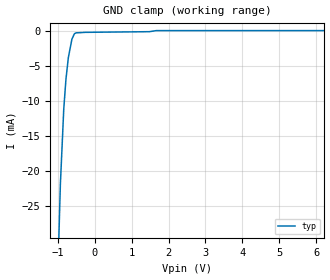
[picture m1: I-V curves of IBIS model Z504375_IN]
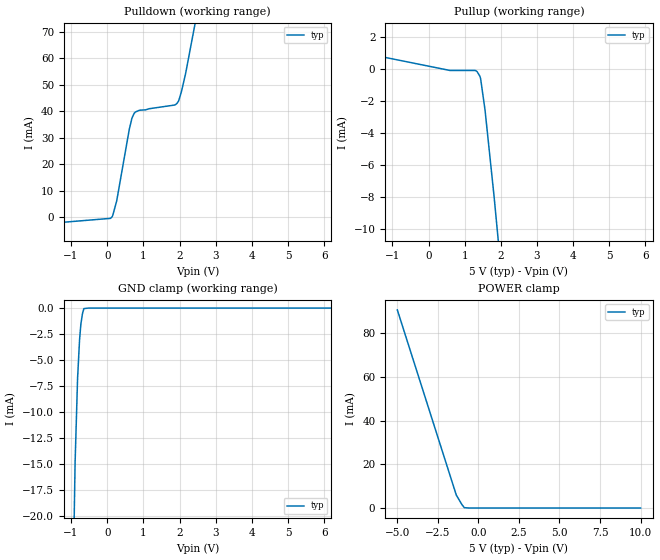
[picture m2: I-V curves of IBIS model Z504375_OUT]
| YOU ARE ONLY AUTHORIZED TO USE THIS SOFTWARE
| ACCORDING TO LICENSOR'S LICENSE RESTRICTIONS.
[IBIS Ver] 3.1
[File Name] sn54ls133j.ibs
[File Rev] 2.0
[Source] Measured and created by ICX Technology
[Date] Friday 7/14/00 9:08:13 AM
[Copyright]
| (C) COPYRIGHT 1993-2000
| MENTOR GRAPHICS CORPORATION
| ICX STANDARD LIBRARY, ICX PROJECT MODELING,
| ICX CUSTOM MODELING, ICX VENDOR MODEL
| ALL RIGHTS RESERVED.
| THE FOLLOWING ARE TRADEMARKS OR SERVICE MARKS OF
| MENTOR GRAPHICS CORPORATION:ICX (R), ICX STANDARD
| LIBRARY(R), ICX PROJECT MODELING(R), ICX CUSTOM
| MODELING(R), qualityIBIS(TM), MODELVIEWER(TM),
| AND MODELEDITOR(TM)
| ALL COPIES OF SOFTWARE, INCLUDING BUT NOT LIMITED TO
| ANY MODIFICATIONS, ENHANCEMENTS OR DERIVATIVE WORKS,
| MUST CONTAIN ALL MENTOR GRAPHICS CORPORATION'S
| NOTICES AND LEGENDS, INCLUDING THOSE EMBEDDED IN
| SOFTWARE AND THOSE AFFIXED TO SOFTWARE MEDIUM
| AND CONTAINER, AS RECEIVED FROM MENTOR GRAPHICS
| CORPORATION.
|  ZAP Model Builder 2.7
[Component] SN54LS133J
[Manufacturer] OnSemiconductor
[Package]
| variable   typ   min   max
R_pkg  .212ohms NA NA
L_pkg  4.758nH NA NA
C_pkg  1.944pF NA NA
[Pin] signal_name  model_name  R_pin  L_pin C_pin
1 A Z504375_IN .224 7.258n 2.683p
2 B Z504375_IN .216 5.258n 2.19p
3 C Z504375_IN .208 3.758n 1.697p
4 D Z504375_IN .2 2.758n 1.204p
5 E Z504375_IN .2 2.758n 1.204p
6 F Z504375_IN .208 3.758n 1.697p
7 G Z504375_IN .216 5.258n 2.19p
8 GND GND .224 7.258n 2.683p
9 Y Z504375_OUT .224 7.258n 2.683p
10 H Z504375_IN .216 5.258n 2.19p
11 I Z504375_IN .208 3.758n 1.697p
12 J Z504375_IN .2 2.758n 1.204p
13 K Z504375_IN .2 2.758n 1.204p
14 L Z504375_IN .208 3.758n 1.697p
15 M Z504375_IN .216 5.258n 2.19p
16 VCC POWER .224 7.258n 2.683p
| Models and submodels in the file (2): Z504375_IN (Input), Z504375_OUT (Output)
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| (C) COPYRIGHT 1993-2000
| MENTOR GRAPHICS CORPORATION
| ICX STANDARD LIBRARY, ICX PROJECT MODELING,
| ICX CUSTOM MODELING, ICX VENDOR MODEL
| ALL RIGHTS RESERVED.
| THE FOLLOWING ARE TRADEMARKS OR SERVICE MARKS OF
| MENTOR GRAPHICS CORPORATION:ICX (R), ICX STANDARD
| LIBRARY(R), ICX PROJECT MODELING(R), ICX CUSTOM
| MODELING(R), qualityIBIS(TM), MODELVIEWER(TM),
| AND MODELEDITOR(TM)
| ALL COPIES OF SOFTWARE, INCLUDING BUT NOT LIMITED TO
| ANY MODIFICATIONS, ENHANCEMENTS OR DERIVATIVE WORKS,
| MUST CONTAIN ALL MENTOR GRAPHICS CORPORATION'S
| NOTICES AND LEGENDS, INCLUDING THOSE EMBEDDED IN
| SOFTWARE AND THOSE AFFIXED TO SOFTWARE MEDIUM
| AND CONTAINER, AS RECEIVED FROM MENTOR GRAPHICS
| CORPORATION.
| Model Application Version 1.89 2/18/99.
[Model] Z504375_IN
Model_type Input
Vinl = 800.0mV
Vinh = 2.000V
C_comp 4.000pF NA NA
| variable typ   min   max
[Voltage Range] 5.000V NA NA
[GND Clamp Reference] 0.000V NA NA
[POWER Clamp Reference] 5.000V NA NA
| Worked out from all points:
|   GND clamp passes 1 mA (typ) near -0.59 V on its own axis
[GND Clamp]
-5V       -773.6mA   NA         NA
-926.7mV  -21.97mA   NA         NA
-835mV    -11.19mA   NA         NA
-776.4mV  -6.986mA   NA         NA
-711.3mV  -3.869mA   NA         NA
-615.2mV  -1.234mA   NA         NA
-546.8mV  -449.4uA   NA         NA
-503mV    -324.1uA   NA         NA
-251.5mV  -249.4uA   NA         NA
1.486V    -153.9uA   NA         NA
1.665V    -2.157uA   NA         NA
10V       2.837uA    NA         NA
[POWER Clamp]
-5V       0A         NA         NA
10V       0A         NA         NA
| (C) COPYRIGHT 1993-2000
| MENTOR GRAPHICS CORPORATION
| ICX STANDARD LIBRARY, ICX PROJECT MODELING,
| ICX CUSTOM MODELING, ICX VENDOR MODEL
| ALL RIGHTS RESERVED.
| THE FOLLOWING ARE TRADEMARKS OR SERVICE MARKS OF
| MENTOR GRAPHICS CORPORATION:ICX (R), ICX STANDARD
| LIBRARY(R), ICX PROJECT MODELING(R), ICX CUSTOM
| MODELING(R), qualityIBIS(TM), MODELVIEWER(TM),
| AND MODELEDITOR(TM)
| ALL COPIES OF SOFTWARE, INCLUDING BUT NOT LIMITED TO
| ANY MODIFICATIONS, ENHANCEMENTS OR DERIVATIVE WORKS,
| MUST CONTAIN ALL MENTOR GRAPHICS CORPORATION'S
| NOTICES AND LEGENDS, INCLUDING THOSE EMBEDDED IN
| SOFTWARE AND THOSE AFFIXED TO SOFTWARE MEDIUM
| AND CONTAINER, AS RECEIVED FROM MENTOR GRAPHICS
| CORPORATION.
| Model Application Version 1.89 2/18/99.
[Model] Z504375_OUT
Model_type Output
Vref=5.000V
Rref=2.000kohms
Cref=15.00pF
Vmeas=1.300V
C_comp 8.000pF NA NA
| variable typ   min   max
[Voltage Range] 5.000V NA NA
[POWER Clamp Reference] 5.000V NA NA
[Pullup Reference] 5.000V NA NA
[Pulldown Reference] 0.000V NA NA
[GND Clamp Reference] 0.000V NA NA
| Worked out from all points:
|   slope of the pulldown table from 0 to 0.75 V, typ, clamps not added: 18.8 ohm
|   slope of the pullup table from 0 to 0.75 V, typ, clamps not added: 2.78 kohm
|   GND clamp passes 1 mA (typ) near -0.70 V on its own axis
|   POWER clamp passes 1 mA (typ) near -0.96 V on its own axis
[GND Clamp]
-5V       -1.555A    NA         NA
-1.182V   -93.09mA   NA         NA
-1.035V   -46.14mA   NA         NA
-888.7mV  -14.91mA   NA         NA
-819.7mV  -6.763mA   NA         NA
-764.1mV  -3.011mA   NA         NA
-727.3mV  -1.519mA   NA         NA
-683.6mV  -519.9uA   NA         NA
-644.5mV  -48.98uA   NA         NA
-515.6mV  0A         NA         NA
10V       0A         NA         NA
[Pulldown]
-5V       -6.17mA    NA         NA
87.89mV   -427.4uA   NA         NA
151.4mV   593.5uA    NA         NA
262.9mV   6.204mA    NA         NA
611.3mV   33.24mA    NA         NA
683.8mV   37.39mA    NA         NA
746mV     39.26mA    NA         NA
899mV     40.42mA    NA         NA
1.896V    42.58mA    NA         NA
1.978V    44mA       NA         NA
2.168V    54.21mA    NA         NA
10V       617.7mA    NA         NA
[Pullup]
-5V       2.447mA    NA         NA
593.5mV   -96.81uA   NA         NA
1.299V    -96.81uA   NA         NA
1.343V    -169.9uA   NA         NA
1.421V    -460.6uA   NA         NA
1.44V     -605.6uA   NA         NA
1.562V    -2.563mA   NA         NA
1.812V    -7.953mA   NA         NA
10V       -203.1mA   NA         NA
[POWER Clamp]
-5V       90.79mA    NA         NA
-1.362V   5.902mA    NA         NA
-1.011V   1.517mA    NA         NA
-869mV    168.8uA    NA         NA
-579.3mV  0A         NA         NA
10V       0A         NA         NA
[Ramp]
| variable typ min max
dV/dt_r 1.889/7.985n NA NA
dV/dt_f 1.889/7.778n NA NA
R_load = 500.0Ohms
